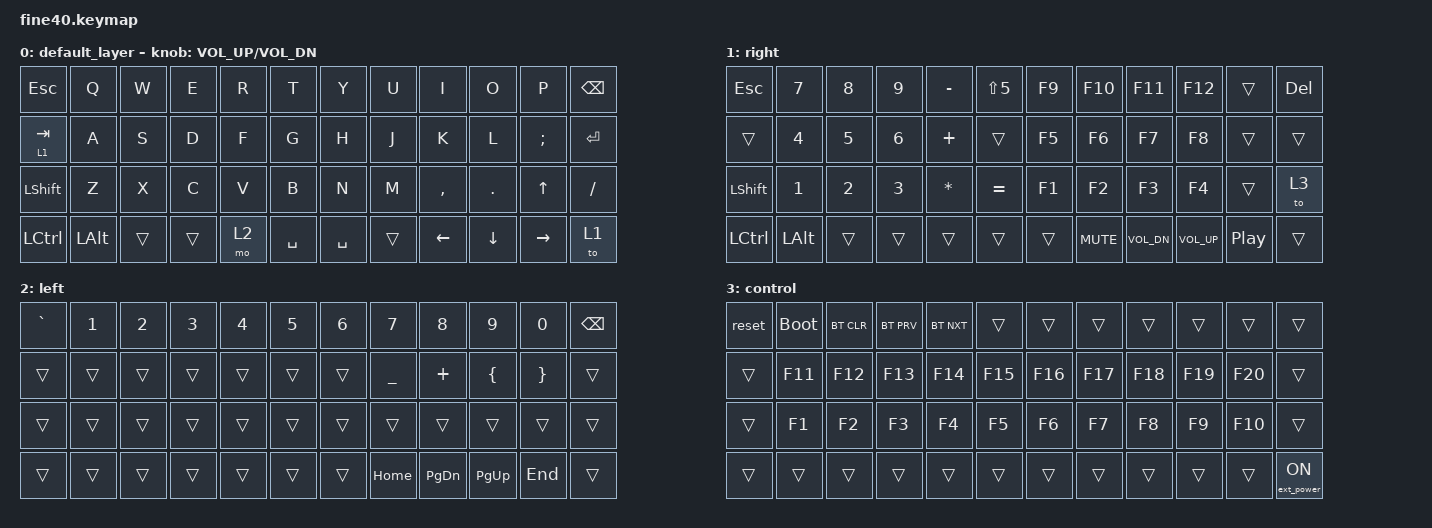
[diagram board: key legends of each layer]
/*
 * Aidan Smith (2021)
 *
 * SPDX-License-Identifier: MIT
 */

#include <behaviors.dtsi>
#include <dt-bindings/zmk/keys.h>
#include <dt-bindings/zmk/bt.h>
#include <dt-bindings/zmk/ext_power.h>

/ {
	keymap {
		compatible = "zmk,keymap";

		default_layer {
				// -----------------------------------------------------------------------------------------
				// |  ESC  |  Q   |  W   |  E   |  R   |  T   |   Y   |  U    |  I   |  O   |   P   | BSPC  |
				// |  TAB  |  A   |  S   |  D   |  F   |  G   |   H   |  J    |  K   |  L   |   ;   |  '    |
				// | SHIFT |  Z   |  X   |  C   |  V   |  B   |   N   |  M    |  ,   |  .   |   /   |  RET  |
				// | LCTL  | LGUI | LALT |  \   | LOWR | SPC  |  RAIS | LARW | DARW | UARW  |  RARW |  P/P  |

				// -----------------------------------------------------------------------------------------
				// |  ESC  |  Q   |  W   |  E   |  R   |  T   |   B   |  V    |  C   |  X   |   Z   |  LSFT |
				// |   Y   |  U   |  I   |  O   |  P   | BSPC |  ENT  |  /    |  .   |  ,   |   M   |   N   |
				// |  TAB  |  A   |  S   |  D   |  F   |  G   |  SPC  |  LOWR |  \   | LALT | LGUI  |  LCTL |
				// |   H   |  J   |  K   |  L   | SCLN | QUTE |  P/P  | RARW | UARW | DARW  |  LARW | RAISE |


			bindings = <
				&kp ESC   &kp Q    &kp W    &kp E    &kp R &kp T     &kp Y     &kp U  &kp I     &kp O    &kp P     &kp BSPC
				&lt 1 TAB &kp A    &kp S    &kp D    &kp F &kp G     &kp H     &kp J  &kp K     &kp L    &kp SEMI  &kp RET
				&kp LSHFT &kp Z    &kp X    &kp C    &kp V &kp B     &kp N     &kp M  &kp COMMA &kp DOT  &kp UP    &kp FSLH
				&kp LCTL  &kp LALT &trans   &trans   &mo 2 &kp SPACE &kp SPACE &trans &kp LEFT  &kp DOWN &kp RIGHT &to 1
			>;

			sensor-bindings = <&inc_dec_kp C_VOL_UP C_VOL_DN>;
		};

		right {
			bindings = <
				&kp ESC   &kp N7   &kp N8 &kp N9 &kp MINUS    &kp LS(N5) &kp F9 &kp F10    &kp F11      &kp F12      &trans   &kp DEL
				&trans    &kp N4   &kp N5 &kp N6 &kp PLUS     &trans     &kp F5 &kp F6     &kp F7       &kp F8       &trans   &trans
				&kp LSHFT &kp N1   &kp N2 &kp N3 &kp MULTIPLY &kp EQUAL  &kp F1 &kp F2     &kp F3       &kp F4       &trans   &to 3
				&kp LCTL  &kp LALT &trans &trans &trans       &trans     &trans &kp C_MUTE &kp C_VOL_DN &kp C_VOL_UP &kp C_PP &trans
			>;
		};

		left {
			bindings = <
				&kp GRAVE &kp N1 &kp N2 &kp N3 &kp N4 &kp N5 &kp N6 &kp N7    &kp N8    &kp N9    &kp N0   &kp BSPC
				&trans    &trans &trans &trans &trans &trans &trans &kp UNDER &kp PLUS  &kp LBRC  &kp RBRC &trans
				&trans    &trans &trans &trans &trans &trans &trans &trans    &trans    &trans    &trans   &trans
				&trans    &trans &trans &trans &trans &trans &trans &kp HOME  &kp PG_DN &kp PG_UP &kp END  &trans
			>;
		};

		control {
			bindings = <
				&reset &bootloader &bt BT_CLR &bt BT_PRV &bt BT_NXT &trans  &trans  &trans  &trans  &trans  &trans  &trans
				&trans &kp F11 	   &kp F12    &kp F13    &kp F14    &kp F15 &kp F16 &kp F17 &kp F18 &kp F19 &kp F20 &trans
				&trans &kp F1      &kp F2     &kp F3     &kp F4     &kp F5  &kp F6  &kp F7  &kp F8  &kp F9  &kp F10 &trans
				&trans &trans      &trans     &trans     &trans     &trans  &trans  &trans  &trans  &trans  &trans  &ext_power EP_ON
			>;
		};
	};
};
